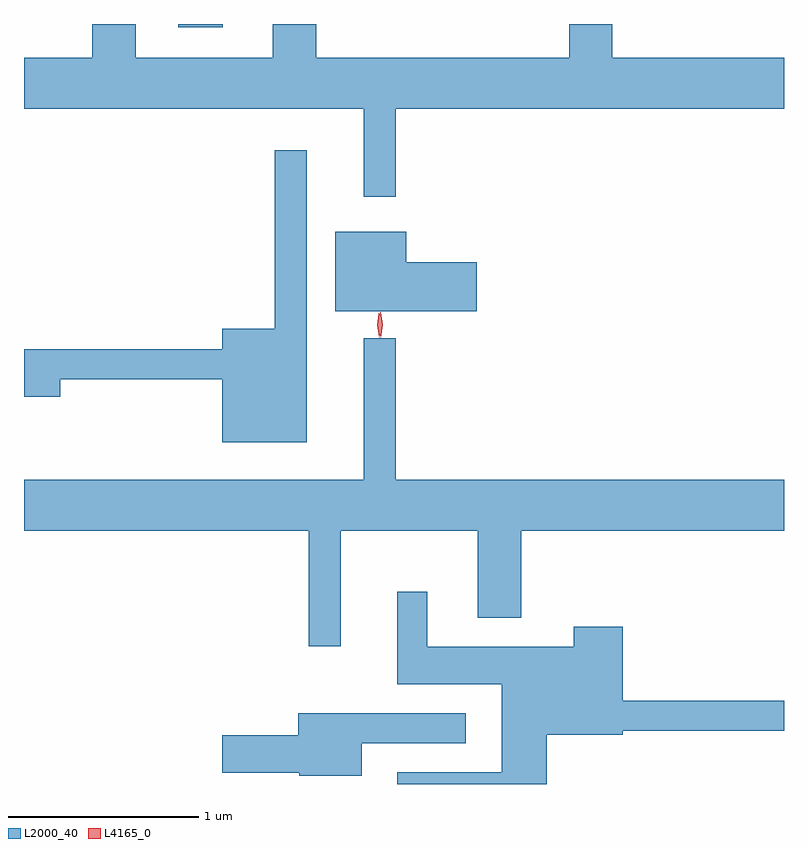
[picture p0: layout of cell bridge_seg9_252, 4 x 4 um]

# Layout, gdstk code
import gdstk
lib = gdstk.Library(unit=1e-6, precision=1e-09)
def R(c, l, rs):  # rectangles x0, y0, x1, y1
    for r in rs: c.add(gdstk.rectangle(r[:2], r[2:], *l))
def P(c, l, *ps):  # polygons
    for p in ps: c.add(gdstk.Polygon(p, *l))
L2000_40 = (2000, 40)
L4165_0 = (4165, 0)

bridge_seg9_252 = lib.new_cell('bridge_seg9_252')
R(bridge_seg9_252, L2000_40, [(1323.183,1952.286,1323.419,1952.302)])
P(bridge_seg9_252, L2000_40, [(1324.329,1951.856),(1326.372,1951.856),(1326.372,1952.124),(1325.469,1952.124),(1325.469,1952.302),(1325.241,1952.302),(1325.241,1952.124),(1323.909,1952.124),(1323.909,1952.302),(1323.681,1952.302),(1323.681,1952.124),(1322.959,1952.124),(1322.959,1952.302),(1322.731,1952.302),(1322.731,1952.124),(1322.372,1952.124),(1322.372,1951.856),(1324.161,1951.856),(1324.161,1951.393),(1324.329,1951.393)],
  [(1323.859,1951.638),(1323.691,1951.638),(1323.691,1950.699),(1323.416,1950.699),(1323.416,1950.589),(1322.372,1950.589),(1322.372,1950.341),(1322.564,1950.341),(1322.564,1950.431),(1323.416,1950.431),(1323.416,1950.101),(1323.859,1950.101)],
  [(1324.754,1951.049),(1324.384,1951.049),(1324.384,1951.209),(1324.011,1951.209),(1324.011,1950.791),(1324.754,1950.791)],
  [(1324.039,1949.636),(1324.761,1949.636),(1324.761,1949.176),(1324.989,1949.176),(1324.989,1949.636),(1326.372,1949.636),(1326.372,1949.904),(1324.329,1949.904),(1324.329,1950.648),(1324.161,1950.648),(1324.161,1949.904),(1322.372,1949.904),(1322.372,1949.636),(1323.871,1949.636),(1323.871,1949.028),(1324.039,1949.028)],
  [(1325.124,1948.561),(1325.524,1948.561),(1325.524,1948.581),(1326.372,1948.581),(1326.372,1948.739),(1325.524,1948.739),(1325.524,1949.129),(1325.266,1949.129),(1325.266,1949.024),(1324.494,1949.024),(1324.494,1949.313),(1324.336,1949.313),(1324.336,1948.826),(1324.886,1948.826),(1324.886,1948.364),(1324.336,1948.364),(1324.336,1948.302),(1325.124,1948.302)],
  [(1324.149,1948.516),(1324.698,1948.516),(1324.698,1948.674),(1323.816,1948.674),(1323.816,1948.559),(1323.416,1948.559),(1323.416,1948.361),(1323.82,1948.361),(1323.82,1948.346),(1324.149,1948.346)])
P(bridge_seg9_252, L4165_0, [(1324.241,1950.653),(1324.241,1950.654),(1324.231,1950.716),(1324.24,1950.779),(1324.24,1950.78),(1324.241,1950.779),(1324.251,1950.716),(1324.242,1950.654)],
  [(1324.249,1950.65),(1324.24,1950.718),(1324.248,1950.785),(1324.249,1950.786),(1324.25,1950.785),(1324.259,1950.718),(1324.25,1950.65),(1324.25,1950.65)])

lib.write_gds('bridge_seg9_252.gds')
